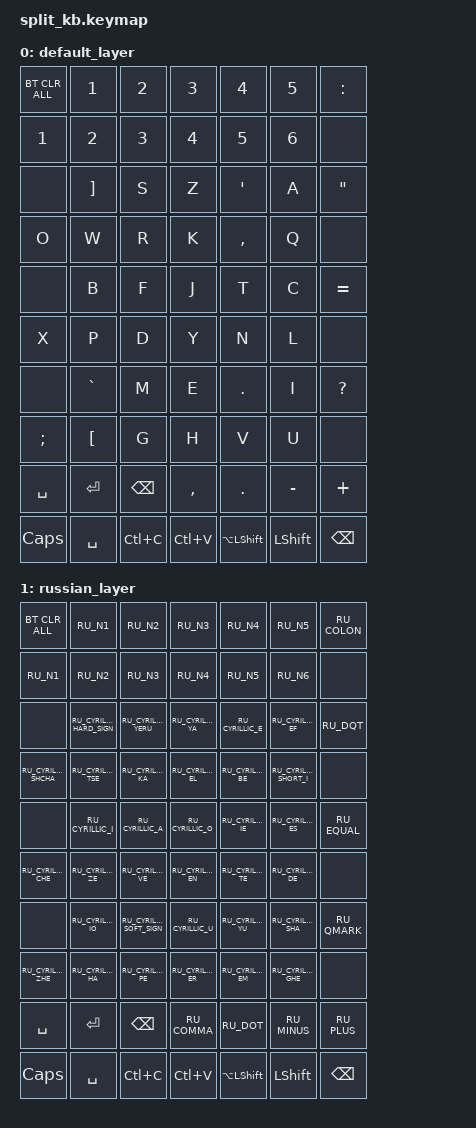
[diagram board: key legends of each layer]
#include <behaviors.dtsi>
#include <dt-bindings/zmk/keys.h>
#include <dt-bindings/zmk/bt.h>
#include "keys_ru.h"
#include "keys_uk.h"

/ {
    keymap {
        compatible = "zmk,keymap";

        default_layer {
            bindings = <
                // R0: правая половина -> левая половина &bt BT_CLR_ALL
                &bt BT_CLR_ALL   &kp N1      &kp N2      &kp N3      &kp N4      &kp N5      &kp COLON
                &kp N1           &kp N2      &kp N3      &kp N4      &kp N5      &kp N6      &none

                // R1
                &none            &kp RBKT    &kp S       &kp Z       &kp SQT     &kp A       &kp DQT
                &kp O            &kp W       &kp R       &kp K       &kp COMMA   &kp Q       &none

                // R2
                &none            &kp B       &kp F       &kp J       &kp T       &kp C       &kp EQUAL
                &kp X            &kp P       &kp D       &kp Y       &kp N       &kp L       &none

                // R3
                &none            &kp GRAVE   &kp M       &kp E       &kp DOT     &kp I       &kp QMARK
                &kp SEMI         &kp LBKT    &kp G       &kp H       &kp V       &kp U       &none

                // R4 (thumb)
                &kp SPACE        &kp ENTER   &kp BSPC    &kp COMMA   &kp DOT        &kp MINUS   &kp PLUS
                &kp CAPSLOCK     &kp SPACE   &kp LC(C)   &kp LC(V)   &kp LA(LSHFT)  &kp LSHFT   &kp BSPC
            >;
        };
        russian_layer { 
            bindings = < 
                // R0: правая половина -> левая половина 
                &bt BT_CLR_ALL     &kp RU_N1 &kp RU_N2 &kp RU_N3 &kp RU_N4 &kp RU_N5 &kp RU_COLON 
                &kp RU_N1          &kp RU_N2 &kp RU_N3 &kp RU_N4 &kp RU_N5 &kp RU_N6 &none 
                // R1 
                &none &kp             RU_CYRILLIC_HARD_SIGN     &kp RU_CYRILLIC_YERU   &kp RU_CYRILLIC_YA   &kp RU_CYRILLIC_E   &kp RU_CYRILLIC_EF         &kp RU_DQT 
                &kp RU_CYRILLIC_SHCHA &kp RU_CYRILLIC_TSE       &kp RU_CYRILLIC_KA     &kp RU_CYRILLIC_EL   &kp RU_CYRILLIC_BE  &kp RU_CYRILLIC_SHORT_I    &none 
                // R2 
                &none &kp RU_CYRILLIC_I &kp RU_CYRILLIC_A &kp RU_CYRILLIC_O &kp RU_CYRILLIC_IE &kp RU_CYRILLIC_ES &kp RU_EQUAL 
                &kp RU_CYRILLIC_CHE &kp RU_CYRILLIC_ZE &kp RU_CYRILLIC_VE &kp RU_CYRILLIC_EN &kp RU_CYRILLIC_TE &kp RU_CYRILLIC_DE &none 
                // R3 
                &none &kp RU_CYRILLIC_IO &kp RU_CYRILLIC_SOFT_SIGN &kp RU_CYRILLIC_U &kp RU_CYRILLIC_YU &kp RU_CYRILLIC_SHA &kp RU_QMARK &kp RU_CYRILLIC_ZHE &kp RU_CYRILLIC_HA &kp RU_CYRILLIC_PE &kp RU_CYRILLIC_ER &kp RU_CYRILLIC_EM &kp RU_CYRILLIC_GHE &none 
                // R4 (thumb) 
                &kp SPACE &kp ENTER &kp BSPC &kp RU_COMMA &kp RU_DOT &kp RU_MINUS &kp RU_PLUS &kp CAPSLOCK &kp SPACE &kp LC(C) &kp LC(V) &kp LA(LSHFT) &kp LSHFT &kp BSPC >; 
        }; 
    };
};
